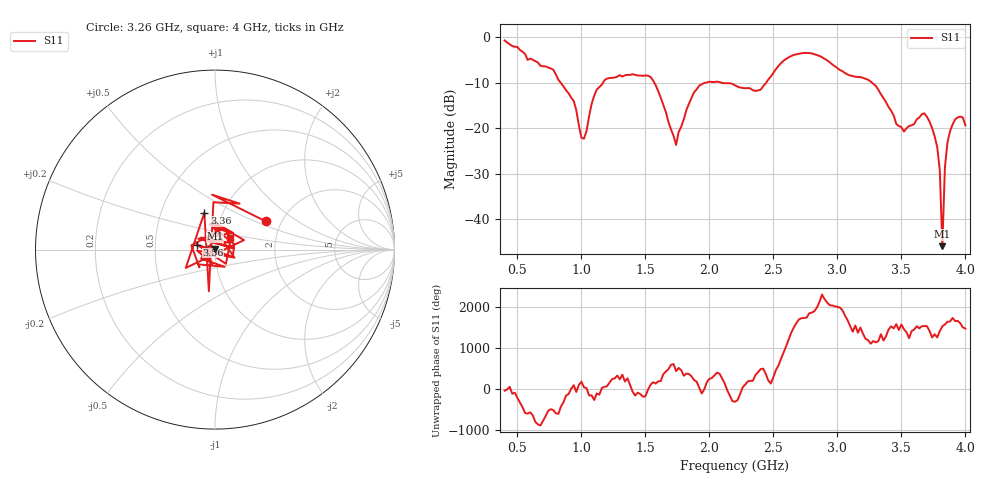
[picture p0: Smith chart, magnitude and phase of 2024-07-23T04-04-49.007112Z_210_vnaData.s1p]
!Created with skrf (http://scikit-rf.org).
# Hz S RI R 50.0
!freq ReS11 ImS11
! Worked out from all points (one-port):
!   181 points, 400 MHz to 4 GHz, reference 50 ohm
!   lowest |S11| = -45.9 dB at 3.82 GHz (marker M1), VSWR 1.01, Z = 50 + j0.506 ohm
!   |S11| at or under -10 dB: 1.569 GHz to 1.978 GHz (409.3 MHz wide, 23.1 % of centre); 2.091 GHz to 2.444 GHz (353.6 MHz wide, 15.6 % of centre); 3.269 GHz to end of sweep (the widest 3 of 4)
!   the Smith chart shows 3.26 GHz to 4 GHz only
!   S11 on the Smith chart (normalised r, x): 3.26 GHz: 1.66, +0.58; 3.36 GHz: 0.82, +0.35; 3.56 GHz: 0.81, +0.05; 4 GHz: 1.17, +0.16
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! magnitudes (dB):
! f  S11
! 400 MHz  -0.8
! 780 MHz  -7.2
! 860 MHz  -10.9
! 940 MHz  -14.1
! 1 GHz  -22.1
! 1.02 GHz  -22.3
! 1.12 GHz  -11.5
! 1.3 GHz  -8.4
! 1.54 GHz  -8.8
! 1.74 GHz  -23.7
! 1.76 GHz  -20.8
! 1.92 GHz  -10.7
! 2.2 GHz  -10.6
! 2.4 GHz  -11.6
! 2.66 GHz  -3.9
! 3.1 GHz  -8.5
! 3.26 GHz  -9.8
! 3.36 GHz  -13.4
! 3.46 GHz  -19.1
! 3.56 GHz  -19.5
! 3.68 GHz  -16.8
! 3.76 GHz  -21.8
! 3.8 GHz  -29.3
! 3.82 GHz  -45.9
! 3.84 GHz  -28.6
! 3.86 GHz  -23.2
! 3.92 GHz  -18.1
! 4 GHz  -19.4
